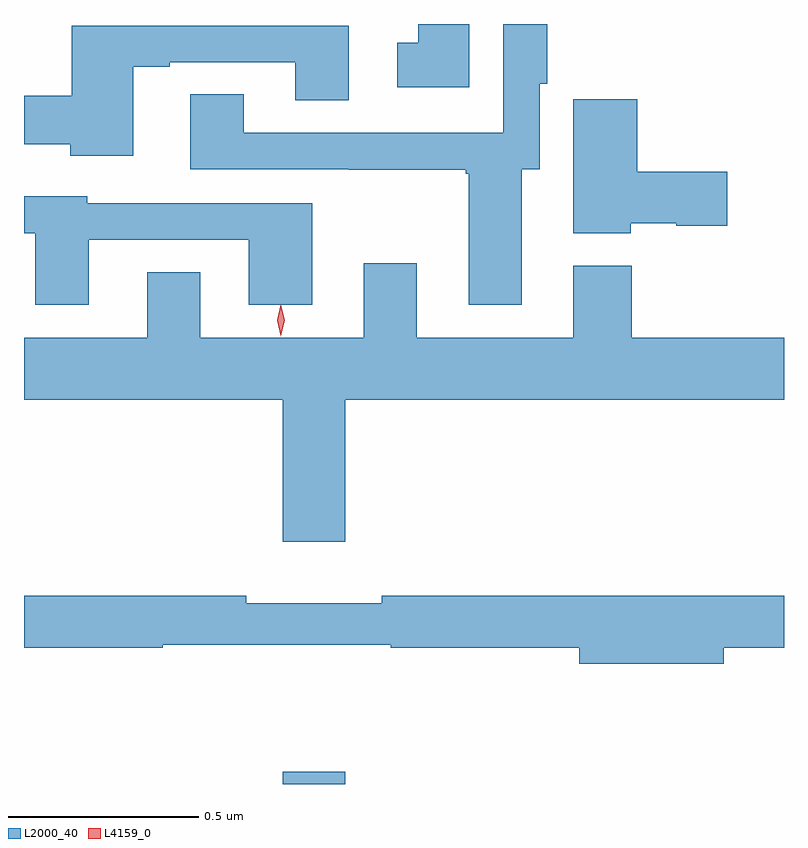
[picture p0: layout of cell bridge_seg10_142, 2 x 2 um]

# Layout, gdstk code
import gdstk
lib = gdstk.Library(unit=1e-6, precision=1e-09)
def R(c, l, rs):  # rectangles x0, y0, x1, y1
    for r in rs: c.add(gdstk.rectangle(r[:2], r[2:], *l))
def P(c, l, *ps):  # polygons
    for p in ps: c.add(gdstk.Polygon(p, *l))
L2000_40 = (2000, 40)
L4159_0 = (4159, 0)

bridge_seg10_142 = lib.new_cell('bridge_seg10_142')
R(bridge_seg10_142, L2000_40, [(344.828,1315.289,344.992,1315.321)])
P(bridge_seg10_142, L2000_40, [(345.319,1317.289),(345.185,1317.289),(345.185,1317.24),(345.129,1317.24),(345.129,1317.122),(345.319,1317.122)],
  [(345.457,1316.907),(345.504,1316.907),(345.504,1317.132),(345.524,1317.132),(345.524,1317.289),(345.408,1317.289),(345.408,1317.003),(344.725,1317.003),(344.725,1317.104),(344.585,1317.104),(344.585,1316.907),(345.001,1316.907),(345.001,1316.905),(345.31,1316.905),(345.31,1316.895),(345.317,1316.895),(345.317,1316.55),(345.457,1316.55)],
  [(344.434,1317.177),(344.53,1317.177),(344.53,1317.189),(344.861,1317.189),(344.861,1317.088),(345.001,1317.088),(345.001,1317.285),(344.273,1317.285),(344.273,1317.1),(344.147,1317.1),(344.147,1316.972),(344.269,1316.972),(344.269,1316.942),(344.434,1316.942)],
  [(345.744,1316.765),(345.864,1316.765),(345.864,1316.758),(345.997,1316.758),(345.997,1316.9),(345.761,1316.9),(345.761,1317.091),(345.593,1317.091),(345.593,1316.738),(345.744,1316.738)],
  [(344.317,1316.721),(344.738,1316.721),(344.738,1316.55),(344.905,1316.55),(344.905,1316.817),(344.313,1316.817),(344.313,1316.836),(344.147,1316.836),(344.147,1316.739),(344.177,1316.739),(344.177,1316.55),(344.317,1316.55)],
  [(344.992,1316.3),(346.147,1316.3),(346.147,1316.464),(345.746,1316.464),(345.746,1316.653),(345.593,1316.653),(345.593,1316.464),(345.181,1316.464),(345.181,1316.659),(345.041,1316.659),(345.041,1316.464),(344.611,1316.464),(344.611,1316.636),(344.471,1316.636),(344.471,1316.464),(344.147,1316.464),(344.147,1316.3),(344.828,1316.3),(344.828,1315.926),(344.992,1315.926)],
  [(345.988,1315.648),(346.147,1315.648),(346.147,1315.784),(345.088,1315.784),(345.088,1315.765),(344.732,1315.765),(344.732,1315.784),(344.147,1315.784),(344.147,1315.648),(344.512,1315.648),(344.512,1315.656),(345.112,1315.656),(345.112,1315.648),(345.608,1315.648),(345.608,1315.606),(345.988,1315.606)])
P(bridge_seg10_142, L4159_0, [(344.823,1316.467),(344.823,1316.468),(344.813,1316.509),(344.823,1316.55),(344.823,1316.55),(344.823,1316.55),(344.833,1316.509),(344.823,1316.468)])

lib.write_gds('bridge_seg10_142.gds')
